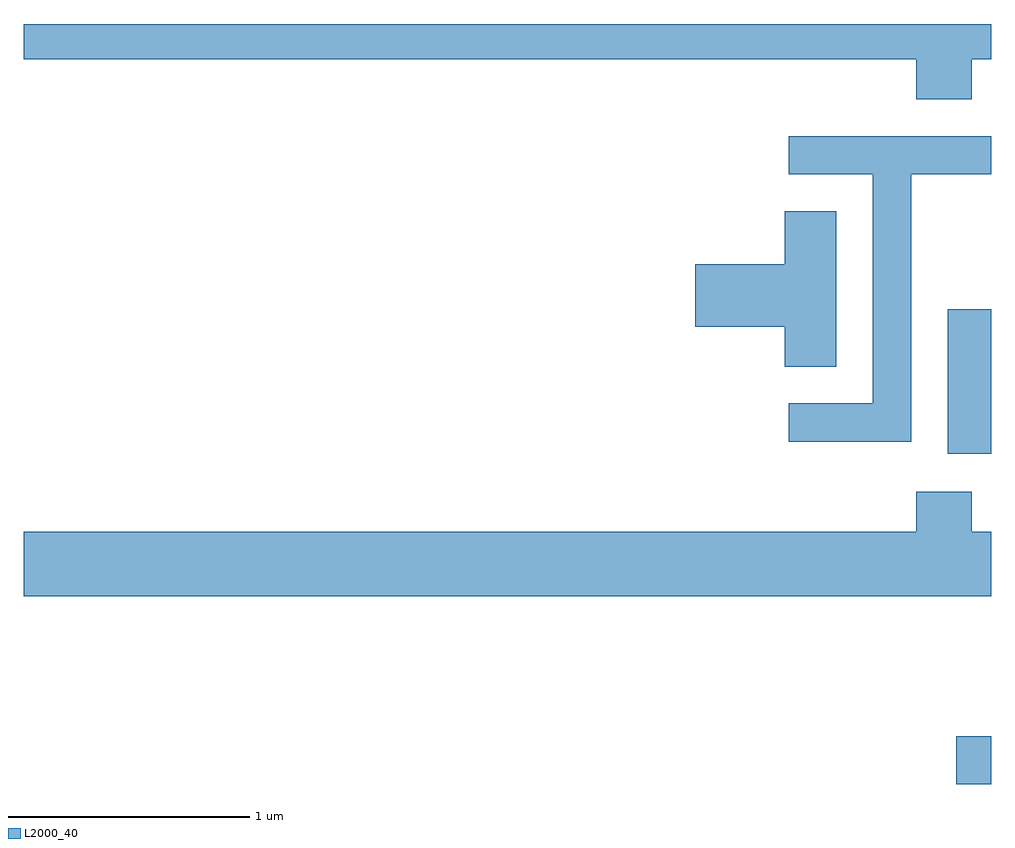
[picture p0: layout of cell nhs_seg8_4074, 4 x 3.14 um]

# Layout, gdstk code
import gdstk
lib = gdstk.Library(unit=1e-6, precision=1e-09)
def R(c, l, rs):  # rectangles x0, y0, x1, y1
    for r in rs: c.add(gdstk.rectangle(r[:2], r[2:], *l))
def P(c, l, *ps):  # polygons
    for p in ps: c.add(gdstk.Polygon(p, *l))
L2000_40 = (2000, 40)

nhs_seg8_4074 = lib.new_cell('nhs_seg8_4074')
R(nhs_seg8_4074, L2000_40, [(311.466,1831.201,311.611,1831.399), (311.431,1832.566,311.611,1833.164)])
P(nhs_seg8_4074, L2000_40, [(311.529,1834.196),(311.611,1834.196),(311.611,1834.342),(307.611,1834.342),(307.611,1834.196),(311.301,1834.196),(311.301,1834.031),(311.529,1834.031)],
  [(311.279,1833.721),(311.611,1833.721),(311.611,1833.879),(310.773,1833.879),(310.773,1833.721),(311.121,1833.721),(311.121,1832.774),(310.773,1832.774),(310.773,1832.616),(311.279,1832.616)],
  [(310.969,1833.569),(310.756,1833.569),(310.756,1833.349),(310.386,1833.349),(310.386,1833.091),(310.756,1833.091),(310.756,1832.926),(310.969,1832.926)],
  [(311.611,1832.244),(311.529,1832.244),(311.529,1832.409),(311.301,1832.409),(311.301,1832.244),(307.611,1832.244),(307.611,1831.976),(311.611,1831.976)])

lib.write_gds('nhs_seg8_4074.gds')
